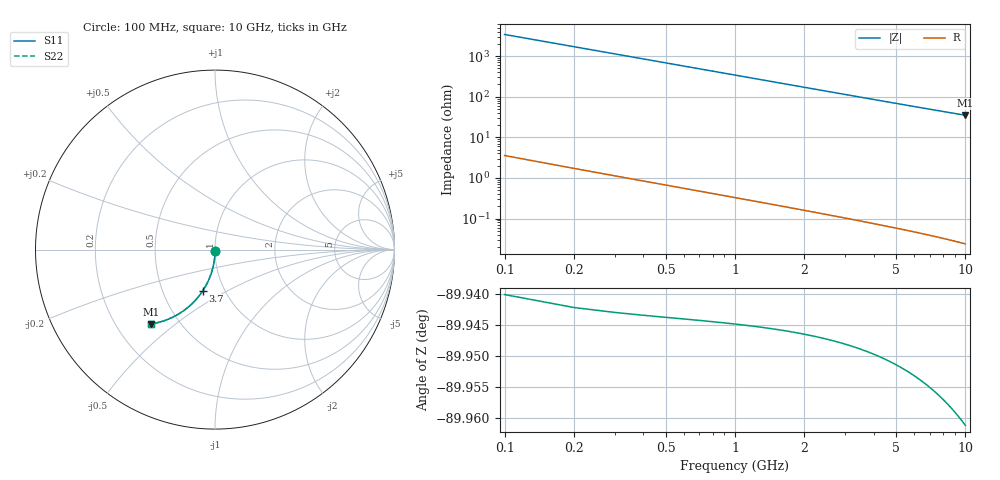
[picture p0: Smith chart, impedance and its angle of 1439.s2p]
# Hz S RI R 50.00
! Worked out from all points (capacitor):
!   100 points, 100 MHz to 10 GHz, reference 50 ohm
!   read as one part in shunt: C = 467 fF near 100 MHz
!   lowest |Z| = 35 ohm at 10 GHz (marker M1)
!   S11 on the Smith chart (normalised r, x): 100 MHz: 1.00, -0.01; 3.7 GHz: 0.79, -0.38; 10 GHz: 0.35, -0.41
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1e8  0.000399 -0.0067  0.9995 -0.00798  0.9995 -0.00798  0.000399 -0.0067
2e8  0.000235 -0.0134  0.9993 -0.016  0.9993 -0.016  0.000235 -0.0134
3e8  -3.71e-05 -0.0201  0.999 -0.0239  0.999 -0.0239  -3.71e-05 -0.0201
4e8  -0.000416 -0.0268  0.9986 -0.0319  0.9986 -0.0319  -0.000416 -0.0268
5e8  -0.000902 -0.0334  0.9981 -0.0399  0.9981 -0.0399  -0.000902 -0.0334
6e8  -0.00149 -0.0401  0.9975 -0.0478  0.9975 -0.0478  -0.00149 -0.0401
7e8  -0.00219 -0.0467  0.9968 -0.0558  0.9968 -0.0558  -0.00219 -0.0467
8e8  -0.003 -0.0534  0.996 -0.0637  0.996 -0.0637  -0.003 -0.0534
9e8  -0.0039 -0.06  0.9951 -0.0716  0.9951 -0.0716  -0.0039 -0.06
1.1e9  -0.00603 -0.0731  0.9929 -0.0873  0.9929 -0.0873  -0.00603 -0.0731
1.4e9  -0.01 -0.0927  0.9889 -0.1108  0.9889 -0.1108  -0.01 -0.0927
1.8e9  -0.0167 -0.1183  0.9821 -0.1416  0.9821 -0.1416  -0.0167 -0.1183
2.1e9  -0.0227 -0.1372  0.9759 -0.1643  0.9759 -0.1643  -0.0227 -0.1372
2.5e9  -0.0321 -0.1616  0.9664 -0.1939  0.9664 -0.1939  -0.0321 -0.1616
2.9e9  -0.0429 -0.1853  0.9554 -0.2227  0.9554 -0.2227  -0.0429 -0.1853
3.4e9  -0.0582 -0.2135  0.9398 -0.2574  0.9398 -0.2574  -0.0582 -0.2135
3.7e9  -0.0683 -0.2297  0.9295 -0.2775  0.9295 -0.2775  -0.0683 -0.2297
4.4e9  -0.0942 -0.265  0.9031 -0.3219  0.9031 -0.3219  -0.0942 -0.265
5.1e9  -0.123 -0.2967  0.8738 -0.3628  0.8738 -0.3628  -0.123 -0.2967
6.7e9  -0.1959 -0.3547  0.7992 -0.4418  0.7992 -0.4418  -0.1959 -0.3547
8.4e9  -0.2786 -0.3946  0.7143 -0.5043  0.7143 -0.5043  -0.2786 -0.3946
1e10  -0.3555 -0.414  0.6347 -0.5451  0.6347 -0.5451  -0.3555 -0.414
